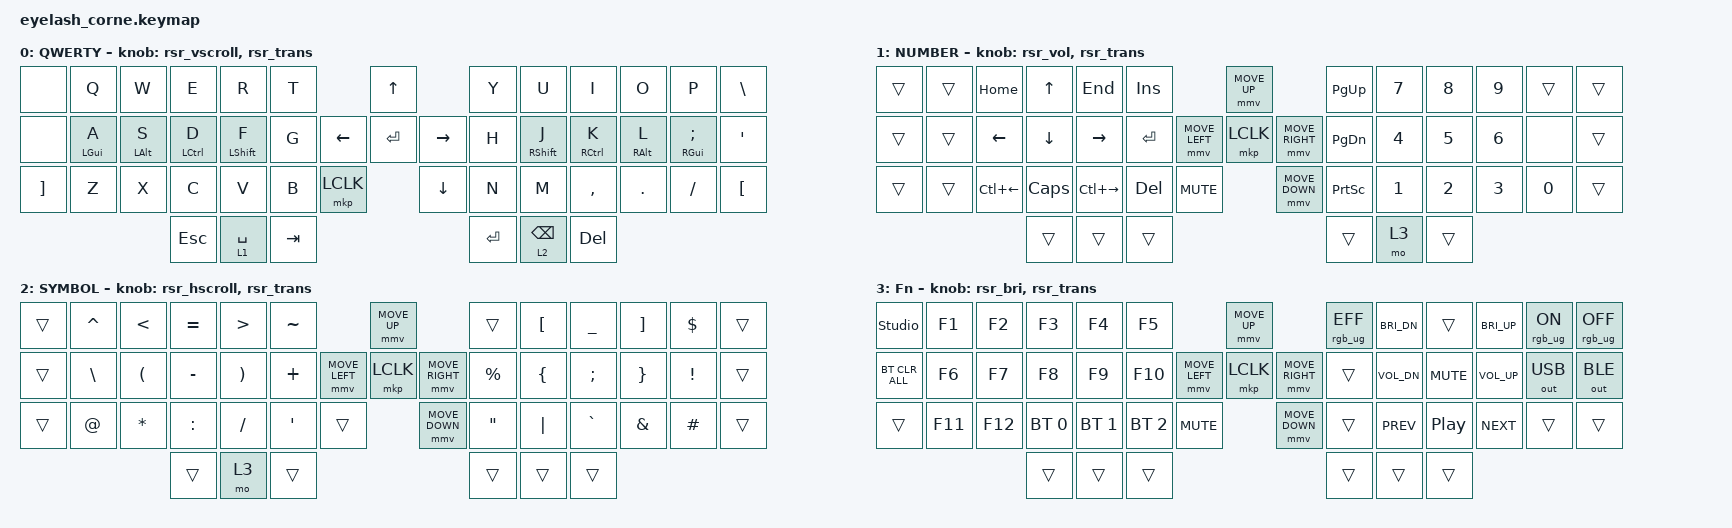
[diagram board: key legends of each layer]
#define ZMK_POINTING_DEFAULT_MOVE_VAL 1200  // 600
#define ZMK_POINTING_DEFAULT_SCRL_VAL 50   // 10 (was 25, ~1.5x faster)

#include <input/processors.dtsi>
#include <zephyr/dt-bindings/input/input-event-codes.h>
#include <behaviors.dtsi>
#include <behaviors/runtime-sensor-rotate.dtsi>
#include <dt-bindings/zmk/bt.h>
#include <dt-bindings/zmk/keys.h>
#include <dt-bindings/zmk/outputs.h>
#include <dt-bindings/zmk/pointing.h>
#include <dt-bindings/zmk/rgb.h>

&mmv_input_listener { input-processors = <&zip_xy_scaler 2 1>; };

&msc_input_listener { input-processors = <&zip_scroll_scaler 2 1>; };

&msc {
    acceleration-exponent = <1>;      // 0
    time-to-max-speed-ms = <100>;       // 300
    delay-ms = <0>;                   // 0
};

&mmv {
    time-to-max-speed-ms = <500>;
    acceleration-exponent = <1>;
    trigger-period-ms = <16>;
};

&soft_off { hold-time-ms = <2000>; };

/ {
    behaviors {
        td0: td0 {
            compatible = "zmk,behavior-tap-dance";
            display-name = "Shift/Caps Lock Tap Dance";
            #binding-cells = <0>;
            bindings = <&kp LEFT_SHIFT>, <&kp CAPS>;
        };

        hml: home_row_mod_left {
            compatible = "zmk,behavior-hold-tap";
            display-name = "Home Row Mod Left";
            #binding-cells = <2>;
            flavor = "balanced";
            tapping-term-ms = <200>;
            quick-tap-ms = <175>;
            require-prior-idle-ms = <150>;
            bindings = <&kp>, <&kp>;
            hold-trigger-key-positions = <7 8 9 10 11 12 22 23 24 25 26 27 36 37 38 39 40 41 45 46 47>;
            hold-trigger-on-release;
        };

        hmr: home_row_mod_right {
            compatible = "zmk,behavior-hold-tap";
            display-name = "Home Row Mod Right";
            #binding-cells = <2>;
            flavor = "balanced";
            tapping-term-ms = <200>;
            quick-tap-ms = <175>;
            require-prior-idle-ms = <150>;
            bindings = <&kp>, <&kp>;
            hold-trigger-key-positions = <0 1 2 3 4 5 14 15 16 17 18 28 29 30 31 32 33 42 43 44>;
            hold-trigger-on-release;
        };

        lt_thumb: layer_tap_thumb {
            compatible = "zmk,behavior-hold-tap";
            display-name = "Layer Tap Thumb";
            #binding-cells = <2>;
            flavor = "hold-preferred";
            tapping-term-ms = <200>;
            quick-tap-ms = <175>;
            bindings = <&mo>, <&kp>;
        };
    };

    rgb_encoder: rgb_encoder {
        compatible = "zmk,behavior-sensor-rotate";
        #sensor-binding-cells = <0>;
        bindings = <&rgb_ug RGB_BRI>, <&rgb_ug RGB_BRD>;
    };

    scroll_encoder: scroll_encoder {
        compatible = "zmk,behavior-sensor-rotate";
        #sensor-binding-cells = <0>;
        bindings = <&msc SCRL_DOWN>, <&msc SCRL_UP>;

        tap-ms = <100>;
    };

    behaviors {
        rsr_vol: rsr_vol {
            compatible = "zmk,behavior-runtime-sensor-rotate";
            #sensor-binding-cells = <0>;
            tap-ms = <5>;
            cw-binding = <&kp C_VOL_UP>;
            ccw-binding = <&kp C_VOL_DN>;
        };

        rsr_vscroll: rsr_vscroll {
            compatible = "zmk,behavior-runtime-sensor-rotate";
            #sensor-binding-cells = <0>;
            tap-ms = <50>;  // <--- INCREASED FROM 5
            cw-binding = <&msc SCRL_DOWN>;
            ccw-binding = <&msc SCRL_UP>;
        };

        rsr_hscroll: rsr_hscroll {
            compatible = "zmk,behavior-runtime-sensor-rotate";
            #sensor-binding-cells = <0>;
            tap-ms = <50>;  // <--- INCREASED FROM 5
            cw-binding = <&msc SCRL_RIGHT>;
            ccw-binding = <&msc SCRL_LEFT>;
        };

        rsr_bri: rsr_bri {
            compatible = "zmk,behavior-runtime-sensor-rotate";
            #sensor-binding-cells = <0>;
            tap-ms = <5>;
            cw-binding = <&kp C_BRI_UP>;
            ccw-binding = <&kp C_BRI_DN>;
        };

        rsr_trans: rsr_trans {
            compatible = "zmk,behavior-runtime-sensor-rotate";
            #sensor-binding-cells = <0>;
            tap-ms = <0>;
        };
    };

    combos {
        compatible = "zmk,combos";

        softoff {
            bindings = <&soft_off>;
            key-positions = <1 15 29>;
        };
    };

    keymap {
        compatible = "zmk,keymap";

        default_layer {
            display-name = "QWERTY";
            bindings =    <
&none  &kp Q        &kp W        &kp E        &kp R        &kp T                            &kp UP                 &kp Y      &kp U               &kp I         &kp O         &kp P          &kp BSLH
&none  &hml LGUI A  &hml LALT S  &hml LCTRL D &hml LSHFT F &kp G                 &kp LEFT   &kp ENTER  &kp RIGHT   &kp H      &hmr RSHFT J        &hmr RCTRL K  &hmr RALT L   &hmr RGUI SEMI &kp SQT
&kp RBKT  &kp Z        &kp X        &kp C        &kp V        &kp B        &mkp LCLK           &kp DOWN               &kp N      &kp M               &kp COMMA     &kp DOT       &kp FSLH       &kp LBKT
                                 &kp ESC      &lt_thumb 1 SPACE  &kp TAB                                           &kp ENTER  &lt_thumb 2 BSPC    &kp DEL
            >;

            sensor-bindings = <&rsr_vscroll &rsr_trans>;
        };

        lower_layer {
            display-name = "NUMBER";
            bindings = <
&trans  &trans  &kp HOME      &kp UP    &kp END        &kp INS                           &mmv MOVE_UP                   &kp PG_UP  &kp N7  &kp N8  &kp N9  &trans  &trans
&trans  &trans  &kp LEFT      &kp DOWN  &kp RIGHT      &kp ENTER          &mmv MOVE_LEFT &mkp LCLK      &mmv MOVE_RIGHT &kp PG_DN  &kp N4  &kp N5  &kp N6  &none   &trans
&trans  &trans  &kp LC(LEFT)  &kp CAPS  &kp LC(RIGHT)  &kp DEL  &kp C_MUTE               &mmv MOVE_DOWN                 &kp PSCRN  &kp N1  &kp N2  &kp N3  &kp N0  &trans
                              &trans    &trans         &trans                                                           &trans     &mo 3   &trans
            >;

            sensor-bindings = <&rsr_vol &rsr_trans>;
        };

        raise_layer {
            display-name = "SYMBOL";
            bindings = <
&trans  &kp CARET  &kp LT     &kp EQUAL  &kp GT    &kp TILDE                       &mmv MOVE_UP              &trans    &kp LBKT  &kp UNDER  &kp RBKT  &kp DLLR  &trans
&trans  &kp BSLH   &kp LPAR   &kp MINUS  &kp RPAR  &kp PLUS         &mmv MOVE_LEFT &mkp LCLK &mmv MOVE_RIGHT &kp PRCNT &kp LBRC  &kp SEMI   &kp RBRC  &kp EXCL  &trans
&trans  &kp AT     &kp ASTRK  &kp COLON  &kp FSLH  &kp SQT    &trans               &mmv MOVE_DOWN            &kp DQT   &kp PIPE  &kp GRAVE  &kp AMPS  &kp HASH  &trans
                              &trans     &mo 3     &trans                                                    &trans    &trans    &trans
            >;

            sensor-bindings = <&rsr_hscroll &rsr_trans>;
        };

        layer_3 {
            display-name = "Fn";
            bindings = <
&studio_unlock  &kp F1   &kp F2   &kp F3            &kp F4          &kp F5                                      &mmv MOVE_UP                    &rgb_ug RGB_EFF  &kp C_BRI_DN  &trans      &kp C_BRI_UP  &rgb_ug RGB_ON  &rgb_ug RGB_OFF
&bt BT_CLR_ALL  &kp F6   &kp F7   &kp F8            &kp F9          &kp F10                     &mmv MOVE_LEFT  &mkp LCLK     &mmv MOVE_RIGHT   &trans           &kp C_VOL_DN  &kp C_MUTE  &kp C_VOL_UP  &out OUT_USB     &out OUT_BLE
&trans          &kp F11  &kp F12  &bt BT_SEL 0      &bt BT_SEL 1    &bt BT_SEL 2   &kp C_MUTE                   &mmv MOVE_DOWN                  &trans           &kp C_PREV    &kp C_PP    &kp C_NEXT    &trans  &trans
                                  &trans            &trans          &trans                                                                      &trans           &trans        &trans
            >;

            sensor-bindings = <&rsr_bri &rsr_trans>;
        };
    };
};
